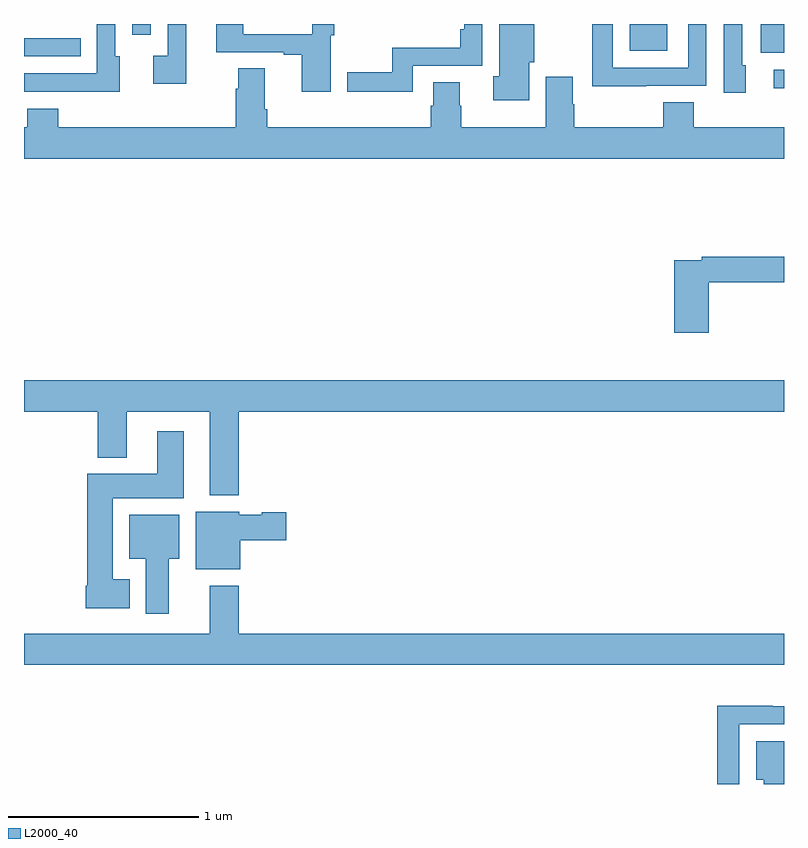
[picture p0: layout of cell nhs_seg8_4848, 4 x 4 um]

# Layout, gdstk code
import gdstk
lib = gdstk.Library(unit=1e-6, precision=1e-09)
def R(c, l, rs):  # rectangles x0, y0, x1, y1
    for r in rs: c.add(gdstk.rectangle(r[:2], r[2:], *l))
def P(c, l, *ps):  # polygons
    for p in ps: c.add(gdstk.Polygon(p, *l))
L2000_40 = (2000, 40)

nhs_seg8_4848 = lib.new_cell('nhs_seg8_4848')
R(nhs_seg8_4848, L2000_40, [(408.945,1091.561,409,1091.658), (405,1091.73,405.299,1091.826), (408.878,1091.75,409,1091.9), (408.188,1091.759,408.385,1091.9), (405.57,1091.844,405.666,1091.9)])
P(nhs_seg8_4848, L2000_40, [(406.614,1091.84),(406.634,1091.84),(406.634,1091.9),(406.518,1091.9),(406.518,1091.847),(406.153,1091.847),(406.153,1091.9),(406.013,1091.9),(406.013,1091.751),(406.367,1091.751),(406.367,1091.739),(406.463,1091.739),(406.463,1091.544),(406.614,1091.544)],
  [(407.046,1091.679),(407.412,1091.679),(407.412,1091.9),(407.316,1091.9),(407.316,1091.872),(407.296,1091.872),(407.296,1091.776),(406.938,1091.776),(406.938,1091.645),(406.701,1091.645),(406.701,1091.543),(407.046,1091.543)],
  [(405.853,1091.9),(405.756,1091.9),(405.756,1091.734),(405.681,1091.734),(405.681,1091.586),(405.853,1091.586)],
  [(405.505,1091.73),(405.48,1091.73),(405.48,1091.9),(405.384,1091.9),(405.384,1091.64),(405,1091.64),(405,1091.544),(405.287,1091.544),(405.287,1091.543),(405.505,1091.543)],
  [(407.659,1091.7),(407.686,1091.7),(407.686,1091.9),(407.501,1091.9),(407.501,1091.624),(407.471,1091.624),(407.471,1091.498),(407.659,1091.498)],
  [(408.275,1091.574),(408.591,1091.574),(408.591,1091.9),(408.495,1091.9),(408.495,1091.67),(408.099,1091.67),(408.099,1091.9),(407.991,1091.9),(407.991,1091.573),(408.275,1091.573)],
  [(408.799,1091.682),(408.78,1091.682),(408.78,1091.9),(408.684,1091.9),(408.684,1091.538),(408.799,1091.538)],
  [(407.293,1091.469),(407.293,1091.594),(407.153,1091.594),(407.153,1091.469),(407.141,1091.469),(407.141,1091.356),(406.28,1091.356),(406.28,1091.452),(406.267,1091.452),(406.267,1091.666),(406.127,1091.666),(406.127,1091.558),(406.115,1091.558),(406.115,1091.356),(405.181,1091.356),(405.181,1091.455),(405.017,1091.455),(405.017,1091.356),(405,1091.356),(405,1091.192),(409,1091.192),(409,1091.356),(408.524,1091.356),(408.524,1091.489),(408.364,1091.489),(408.364,1091.356),(407.895,1091.356),(407.895,1091.477),(407.887,1091.477),(407.887,1091.623),(407.747,1091.623),(407.747,1091.356),(407.301,1091.356),(407.301,1091.469)],
  [(408.605,1090.54),(409,1090.54),(409,1090.676),(408.568,1090.676),(408.568,1090.656),(408.422,1090.656),(408.422,1090.275),(408.605,1090.275)],
  [(406.13,1089.86),(409,1089.86),(409,1090.024),(405,1090.024),(405,1089.86),(405.389,1089.86),(405.389,1089.617),(405.541,1089.617),(405.541,1089.86),(405.977,1089.86),(405.977,1089.419),(406.13,1089.419)],
  [(405.556,1088.977),(405.466,1088.977),(405.466,1089.404),(405.841,1089.404),(405.841,1089.757),(405.701,1089.757),(405.701,1089.532),(405.332,1089.532),(405.332,1088.943),(405.326,1088.943),(405.326,1088.825),(405.556,1088.825)],
  [(406.138,1089.182),(406.381,1089.182),(406.381,1089.329),(406.251,1089.329),(406.251,1089.316),(406.134,1089.316),(406.134,1089.334),(405.905,1089.334),(405.905,1089.029),(406.138,1089.029)],
  [(405.763,1089.086),(405.817,1089.086),(405.817,1089.316),(405.554,1089.316),(405.554,1089.086),(405.641,1089.086),(405.641,1088.796),(405.763,1088.796)],
  [(409,1088.692),(406.13,1088.692),(406.13,1088.944),(405.977,1088.944),(405.977,1088.692),(405,1088.692),(405,1088.528),(409,1088.528)],
  [(408.765,1088.214),(409,1088.214),(409,1088.31),(408.941,1088.31),(408.941,1088.312),(408.649,1088.312),(408.649,1087.9),(408.765,1087.9)],
  [(409,1088.125),(408.854,1088.125),(408.854,1087.922),(408.893,1087.922),(408.893,1087.9),(409,1087.9)])

lib.write_gds('nhs_seg8_4848.gds')
